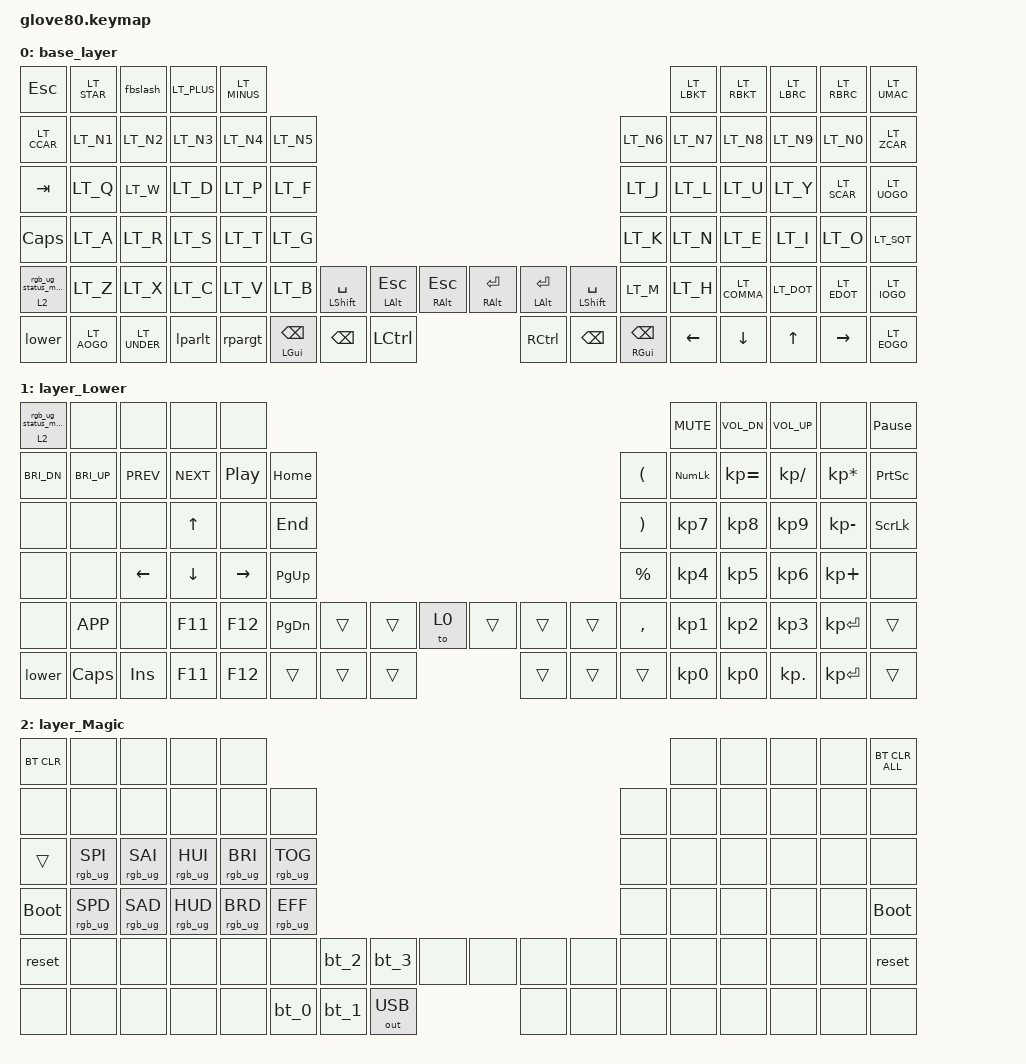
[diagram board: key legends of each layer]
/*
 * Copyright (c) 2020 The ZMK Contributors
 * Copyright (c) 2022 Innaworks Development Limited, trading as MoErgo
 *
 * SPDX-License-Identifier: MIT
 */


/* THIS FILE WAS GENERATED BY GLOVE80 LAYOUT EDITOR
 *
 * This file was generated automatically. You may or may not want to
 * edit it directly.
 */

#include <behaviors.dtsi>
/* Include all behaviour includes needed by system behaviors/macros */
#include <dt-bindings/zmk/outputs.h>

/* Include behaviour includes needed by key binds - automatically generated */
/* #include <dt-bindings/zmk/keys.h> */
#include "keys.h"
#include <dt-bindings/zmk/bt.h>
#include <dt-bindings/zmk/rgb.h>
/* #include <dt-bindings/zmk/outputs.h> */


/ {
    /* Glove80 system behavior & macros */
    behaviors {
        // For the "layer" key, it'd nice to be able to use it as either a shift or a toggle.
        // Configure it as a tap dance, so the first tap (or hold) is a &mo and the second tap is a &to
        lower: tap_dance_0 {
            compatible = "zmk,behavior-tap-dance";
            label = "LAYER_TAP_DANCE";
            #binding-cells = <0>;
            tapping-term-ms = <200>;
            bindings = <&mo 1>, <&to 1>;
        };
    };

    macros {
        rgb_ug_status_macro: rgb_ug_status_macro_0 {
            label = "RGB_UG_STATUS";
            compatible = "zmk,behavior-macro";
            #binding-cells = <0>;
            bindings
                = <&rgb_ug RGB_STATUS>;
        };
    };

    macros {
        bt_0: bt_profile_macro_0 {
            label = "BT_0";
            compatible = "zmk,behavior-macro";
            #binding-cells = <0>;
            bindings
                = <&out OUT_BLE>,
                  <&bt BT_SEL 0>;
        };
    };

    macros {
        bt_1: bt_profile_macro_1 {
            label = "BT_1";
            compatible = "zmk,behavior-macro";
            #binding-cells = <0>;
            bindings
                = <&out OUT_BLE>,
                  <&bt BT_SEL 1>;
        };
    };

    macros {
        bt_2: bt_profile_macro_2 {
            label = "BT_2";
            compatible = "zmk,behavior-macro";
            #binding-cells = <0>;
            bindings
                = <&out OUT_BLE>,
                  <&bt BT_SEL 2>;
        };
    };

    macros {
        bt_3: bt_profile_macro_3 {
            label = "BT_3";
            compatible = "zmk,behavior-macro";
            #binding-cells = <0>;
            bindings
                = <&out OUT_BLE>,
                  <&bt BT_SEL 3>;
        };
    };

    behaviors {
        magic: magic_hold_tap {
          compatible = "zmk,behavior-hold-tap";
          label = "MAGIC_HOLD_TAP";
          #binding-cells = <2>;
          flavor = "tap-preferred";
          tapping-term-ms = <200>;
          bindings = <&mo>, <&rgb_ug_status_macro>;
        };
    };

    /* Custom Defined Behaviors */

    behaviors {
        fbslash: forward_backward_slash {
            compatible = "zmk,behavior-mod-morph";
            label = "FORWARD_BACKWARD_SLASH";
            #binding-cells = <0>;
            bindings = <&kp LT_FSLH >, <&kp LT_BSLH >;
            mods = <(MOD_LSFT|MOD_RSFT)>;
        };
    };

    behaviors {
        n3hash: n3_hash {
            compatible = "zmk,behavior-mod-morph";
            label = "N3_HASH";
            #binding-cells = <0>;
            bindings = <&kp LT_N3 >, <&kp LT_HASH >;
            mods = <(MOD_LSFT|MOD_RSFT)>;
        };
    };

    behaviors {
        n4dollar: n4_dollar {
            compatible = "zmk,behavior-mod-morph";
            label = "N4_DOLLAR";
            #binding-cells = <0>;
            bindings = <&kp LT_N4 >, <&kp LT_DOLLAR >;
            mods = <(MOD_LSFT|MOD_RSFT)>;
        };
    };

    behaviors {
        n5percent: n5_percent {
            compatible = "zmk,behavior-mod-morph";
            label = "N5_PERCENT";
            #binding-cells = <0>;
            bindings = <&kp LT_N5 >, <&kp LT_PERCENT >;
            mods = <(MOD_LSFT|MOD_RSFT)>;
        };
    };

    behaviors {
        n6caret: n6_caret {
            compatible = "zmk,behavior-mod-morph";
            label = "N6_CARET";
            #binding-cells = <0>;
            bindings = <&kp LT_N6 >, <&kp LT_CARET >;
            mods = <(MOD_LSFT|MOD_RSFT)>;
        };
    };

    behaviors {
        n7amps: n7_amps {
            compatible = "zmk,behavior-mod-morph";
            label = "N7_AMPS";
            #binding-cells = <0>;
            bindings = <&kp LT_N7 >, <&kp LT_AMPS >;
            mods = <(MOD_LSFT|MOD_RSFT)>;
        };
    };

    behaviors {
        n8pipe: n8_pipe {
            compatible = "zmk,behavior-mod-morph";
            label = "N8_PIPE";
            #binding-cells = <0>;
            bindings = <&kp LT_N8 >, <&kp LT_PIPE >;
            mods = <(MOD_LSFT|MOD_RSFT)>;
        };
    };

    behaviors {
        n9euro: n9_euro {
            compatible = "zmk,behavior-mod-morph";
            label = "N9_EURO";
            #binding-cells = <0>;
            bindings = <&kp LT_N9 >, <&kp LT_EURO >;
            mods = <(MOD_LSFT|MOD_RSFT)>;
        };
    };

    behaviors {
        n0qmark: n0_qmark {
            compatible = "zmk,behavior-mod-morph";
            label = "N0_QMARK";
            #binding-cells = <0>;
            bindings = <&kp LT_N0 >, <&kp LT_QMARK >;
            mods = <(MOD_LSFT|MOD_RSFT)>;
        };
    };

    behaviors {
        gravetilde: grave_tilde {
            compatible = "zmk,behavior-mod-morph";
            label = "GRAVE_TILDE";
            #binding-cells = <0>;
            bindings = <&kp LT_GRAV >, <&kp LT_TILDE >;
            mods = <(MOD_LSFT|MOD_RSFT)>;
        };
    };

    behaviors {
        lbktbrc: lbkt_lbrc {
            compatible = "zmk,behavior-mod-morph";
            label = "LBKT_LBRC";
            #binding-cells = <0>;
            bindings = <&kp LT_LBKT >, <&kp LT_LBRC >;
            mods = <(MOD_LSFT|MOD_RSFT)>;
            keep-mods = <(MOD_LSFT|MOD_RSFT)>;
        };
    };

    behaviors {
        rbktbrc: rbkt_rbrc {
            compatible = "zmk,behavior-mod-morph";
            label = "RBKT_RBRC";
            #binding-cells = <0>;
            bindings = <&kp LT_RBKT >, <&kp LT_RBRC >;
            mods = <(MOD_LSFT|MOD_RSFT)>;
        };
    };

    behaviors {
        lparlt: lpar_lt {
            compatible = "zmk,behavior-mod-morph";
            label = "LPAR_LT";
            #binding-cells = <0>;
            bindings = <&kp LT_LPAR >, <&kp LT_LT >;
            mods = <(MOD_LALT|MOD_RALT)>;
        };
    };

    behaviors {
        rpargt: rpar_gt {
            compatible = "zmk,behavior-mod-morph";
            label = "RPAR_GT";
            #binding-cells = <0>;
            bindings = <&kp LT_RPAR >, <&kp LT_GT >;
            mods = <(MOD_LALT|MOD_RALT)>;
        };
    };

    /* Automatically generated keymap */
    keymap {
        compatible = "zmk,keymap";

        base_layer {
            bindings = <
&kp ESC     &kp LT_STAR &fbslash  &kp LT_PLUS &kp LT_MINUS                                                                                                         &kp LT_LBKT &kp LT_RBKT  &kp LT_LBRC  &kp LT_RBRC &kp LT_UMAC
&kp LT_CCAR &kp LT_N1   &kp LT_N2 &kp LT_N3   &kp LT_N4    &kp LT_N5                                                                                     &kp LT_N6 &kp LT_N7   &kp LT_N8    &kp LT_N9    &kp LT_N0   &kp LT_ZCAR
&kp TAB     &kp LT_Q    &kp LT_W  &kp LT_D    &kp LT_P     &kp LT_F                                                                                      &kp LT_J  &kp LT_L    &kp LT_U     &kp LT_Y     &kp LT_SCAR &kp LT_UOGO
&kp CAPS    &kp LT_A    &kp LT_R  &kp LT_S    &kp LT_T     &kp LT_G                                                                                      &kp LT_K  &kp LT_N    &kp LT_E     &kp LT_I     &kp LT_O    &kp LT_SQT
&magic 2 0  &kp LT_Z    &kp LT_X  &kp LT_C    &kp LT_V     &kp LT_B  &mt LSHFT SPACE &mt LALT ESC &mt RALT ESC &mt RALT RET &mt LALT RET &mt LSHFT SPACE &kp LT_M  &kp LT_H    &kp LT_COMMA &kp LT_DOT   &kp LT_EDOT &kp LT_IOGO
&lower      &kp LT_AOGO &kp LT_UNDER &lparlt  &rpargt                &mt LGUI BSPC   &kp BSPC     &kp LCTRL    &kp RCTRL    &kp BSPC     &mt RGUI BSPC             &kp LEFT    &kp DOWN     &kp UP       &kp RIGHT   &kp LT_EOGO
            >;
        };

        layer_Lower {
            bindings = <
 &magic 2 0         &none           &none      &none           &none                                                                                    &kp C_MUTE  &kp C_VOL_DN  &kp C_VOL_UP            &none  &kp PAUSE_BREAK
 &kp C_BRI_DN  &kp C_BRI_UP      &kp C_PREV      &kp C_NEXT         &kp C_PP  &kp HOME                                                   &kp LEFT_PARENTHESIS  &kp KP_NUM  &kp KP_EQUAL  &kp KP_SLASH  &kp KP_MULTIPLY  &kp PRINTSCREEN
       &none         &none           &none    &kp UP_ARROW            &none    &kp END                                                  &kp RIGHT_PARENTHESIS   &kp KP_N7     &kp KP_N8     &kp KP_N9     &kp KP_MINUS   &kp SCROLLLOCK
       &none         &none  &kp LEFT_ARROW  &kp DOWN_ARROW  &kp RIGHT_ARROW  &kp PG_UP                                                            &kp PERCENT   &kp KP_N4     &kp KP_N5     &kp KP_N6      &kp KP_PLUS            &none
       &none     &kp K_APP           &none         &kp F11          &kp F12  &kp PG_DN  &trans  &trans   &to 0  &trans  &trans  &trans              &kp COMMA   &kp KP_N1     &kp KP_N2     &kp KP_N3     &kp KP_ENTER           &trans
   &lower      &kp CAPS         &kp INS         &kp F11          &kp F12                &trans  &trans  &trans  &trans  &trans  &trans                          &kp KP_N0     &kp KP_N0    &kp KP_DOT     &kp KP_ENTER           &trans
            >;
        };

        layer_Magic {
            bindings = <
  &bt BT_CLR            &none            &none            &none            &none                                                                                  &none   &none   &none   &none  &bt BT_CLR_ALL
       &none            &none            &none            &none            &none            &none                                                         &none   &none   &none   &none   &none           &none
      &trans  &rgb_ug RGB_SPI  &rgb_ug RGB_SAI  &rgb_ug RGB_HUI  &rgb_ug RGB_BRI  &rgb_ug RGB_TOG                                                         &none   &none   &none   &none   &none           &none
 &bootloader  &rgb_ug RGB_SPD  &rgb_ug RGB_SAD  &rgb_ug RGB_HUD  &rgb_ug RGB_BRD  &rgb_ug RGB_EFF                                                         &none   &none   &none   &none   &none     &bootloader
      &reset            &none            &none            &none            &none            &none   &bt_2   &bt_3         &none   &none   &none   &none   &none   &none   &none   &none   &none          &reset
       &none            &none            &none            &none            &none                    &bt_0   &bt_1  &out OUT_USB   &none   &none   &none           &none   &none   &none   &none           &none
            >;
        };

    };
};
